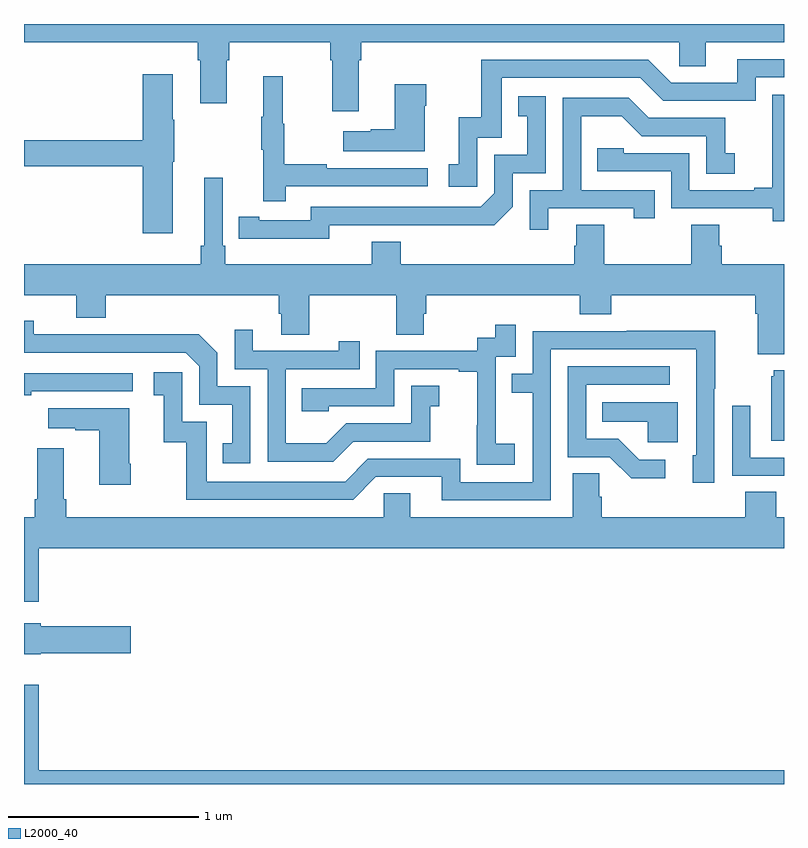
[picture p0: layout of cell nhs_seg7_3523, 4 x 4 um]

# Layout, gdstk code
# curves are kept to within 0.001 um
import gdstk
lib = gdstk.Library(unit=1e-6, precision=1e-09)
def P(c, l, *ps):  # polygons
    for p in ps: c.add(gdstk.Polygon(p, *l))
L2000_40 = (2000, 40)

nhs_seg7_3523 = lib.new_cell('nhs_seg7_3523')
P(nhs_seg7_3523, L2000_40, [(336.763,1045.808),(336.776,1045.808),(336.776,1045.904),(338.448,1045.904),(338.448,1045.777),(338.587,1045.777),(338.587,1045.904),(339,1045.904),(339,1046),(335,1046),(335,1045.904),(335.915,1045.904),(335.915,1045.808),(335.927,1045.808),(335.927,1045.584),(336.067,1045.584),(336.067,1045.808),(336.08,1045.808),(336.08,1045.904),(336.611,1045.904),(336.611,1045.808),(336.623,1045.808),(336.623,1045.542),(336.763,1045.542)],
  [(337.386,1045.401),(337.515,1045.401),(337.515,1045.716),(338.244,1045.716),(338.364,1045.596),(338.85,1045.596),(338.85,1045.719),(339,1045.719),(339,1045.815),(338.753,1045.815),(338.753,1045.692),(338.406,1045.692),(338.286,1045.812),(337.407,1045.812),(337.407,1045.51),(337.289,1045.51),(337.289,1045.263),(337.236,1045.263),(337.236,1045.143),(337.386,1045.143)],
  [(335.782,1045.275),(335.79,1045.275),(335.79,1045.496),(335.782,1045.496),(335.782,1045.735),(335.624,1045.735),(335.624,1045.388),(335,1045.388),(335,1045.252),(335.624,1045.252),(335.624,1044.9),(335.782,1044.9)],
  [(336.377,1045.146),(337.126,1045.146),(337.126,1045.242),(336.593,1045.242),(336.593,1045.262),(336.37,1045.262),(336.37,1045.476),(336.362,1045.476),(336.362,1045.726),(336.26,1045.726),(336.26,1045.513),(336.249,1045.513),(336.249,1045.339),(336.26,1045.339),(336.26,1045.068),(336.377,1045.068)],
  [(337.108,1045.571),(337.116,1045.571),(337.116,1045.684),(336.95,1045.684),(336.95,1045.445),(336.824,1045.445),(336.824,1045.435),(336.681,1045.435),(336.681,1045.331),(337.108,1045.331)],
  [(339,1045.627),(338.938,1045.627),(338.938,1045.421),(338.939,1045.421),(338.939,1045.138),(338.843,1045.138),(338.843,1045.125),(338.502,1045.125),(338.502,1045.32),(338.157,1045.32),(338.157,1045.347),(338.017,1045.347),(338.017,1045.224),(338.406,1045.224),(338.406,1045.029),(338.94,1045.029),(338.94,1044.961),(339,1044.961)],
  [(336.606,1044.942),(337.474,1044.941),(337.572,1045.038),(337.572,1045.215),(337.746,1045.215),(337.746,1045.621),(337.6,1045.621),(337.6,1045.515),(337.649,1045.515),(337.649,1045.311),(337.476,1045.311),(337.476,1045.11),(337.404,1045.038),(336.51,1045.038),(336.51,1044.966),(336.238,1044.966),(336.238,1044.986),(336.13,1044.986),(336.13,1044.87),(336.606,1044.869)],
  [(337.759,1045.029),(338.21,1045.029),(338.21,1044.978),(338.321,1044.978),(338.321,1045.125),(337.932,1045.125),(337.932,1045.514),(338.146,1045.514),(338.25,1045.41),(338.592,1045.41),(338.592,1045.212),(338.74,1045.212),(338.74,1045.321),(338.691,1045.321),(338.691,1045.506),(338.287,1045.506),(338.182,1045.611),(337.836,1045.611),(337.836,1045.125),(337.662,1045.125),(337.662,1044.918),(337.759,1044.918)],
  [(339,1044.736),(338.672,1044.736),(338.672,1044.834),(338.659,1044.834),(338.659,1044.944),(338.512,1044.944),(338.512,1044.736),(338.055,1044.736),(338.055,1044.944),(337.907,1044.944),(337.907,1044.834),(337.895,1044.834),(337.895,1044.736),(336.983,1044.736),(336.983,1044.853),(336.83,1044.853),(336.83,1044.736),(336.059,1044.736),(336.059,1044.832),(336.045,1044.832),(336.045,1045.192),(335.948,1045.192),(335.948,1044.832),(335.929,1044.832),(335.929,1044.736),(335,1044.736),(335,1044.572),(335.276,1044.572),(335.276,1044.455),(335.429,1044.455),(335.429,1044.572),(336.341,1044.572),(336.341,1044.474),(336.353,1044.474),(336.353,1044.364),(336.501,1044.364),(336.501,1044.572),(336.958,1044.572),(336.958,1044.364),(337.105,1044.364),(337.105,1044.474),(337.118,1044.474),(337.118,1044.572),(337.925,1044.572),(337.925,1044.473),(338.09,1044.473),(338.09,1044.572),(338.849,1044.572),(338.849,1044.476),(338.861,1044.476),(338.861,1044.263),(339,1044.263)],
  [(336.192,1044.093),(336.018,1044.093),(336.018,1044.27),(335.92,1044.368),(335.512,1044.368),(335.512,1044.366),(335.052,1044.366),(335.052,1044.439),(335,1044.439),(335,1044.27),(335.85,1044.27),(335.922,1044.198),(335.922,1043.997),(336.095,1043.997),(336.095,1043.793),(336.046,1043.793),(336.046,1043.688),(336.192,1043.688)],
  [(337.582,1043.791),(337.484,1043.791),(337.484,1044.02),(337.482,1044.02),(337.482,1044.249),(337.587,1044.249),(337.587,1044.418),(337.479,1044.418),(337.479,1044.348),(337.386,1044.348),(337.386,1044.279),(336.852,1044.279),(336.852,1044.084),(336.463,1044.084),(336.463,1043.961),(336.603,1043.961),(336.603,1043.988),(336.948,1043.988),(336.948,1044.183),(337.289,1044.183),(337.289,1044.171),(337.385,1044.171),(337.385,1043.887),(337.384,1043.887),(337.384,1043.681),(337.582,1043.681)],
  [(336.733,1043.802),(337.137,1043.802),(337.137,1043.987),(337.186,1043.987),(337.186,1044.097),(337.038,1044.097),(337.038,1043.898),(336.696,1043.898),(336.592,1043.794),(336.378,1043.794),(336.378,1044.183),(336.767,1044.183),(336.767,1044.331),(336.656,1044.331),(336.656,1044.279),(336.205,1044.279),(336.205,1044.391),(336.108,1044.391),(336.108,1044.183),(336.282,1044.183),(336.282,1043.697),(336.628,1043.697)],
  [(337.773,1044.288),(338.537,1044.288),(338.538,1043.73),(338.519,1043.73),(338.519,1043.586),(338.634,1043.586),(338.634,1044.079),(338.637,1044.079),(338.637,1044.386),(338.173,1044.386),(338.173,1044.384),(337.677,1044.384),(337.677,1044.159),(337.567,1044.159),(337.567,1044.058),(337.677,1044.058),(337.677,1043.589),(337.296,1043.589),(337.296,1043.712),(336.81,1043.712),(336.69,1043.592),(335.961,1043.592),(335.961,1043.907),(335.832,1043.907),(335.832,1044.166),(335.682,1044.166),(335.682,1044.045),(335.735,1044.045),(335.735,1043.799),(335.853,1043.799),(335.853,1043.496),(336.732,1043.496),(336.852,1043.616),(337.199,1043.616),(337.199,1043.493),(337.773,1043.493)],
  [(338.374,1043.706),(338.239,1043.706),(338.128,1043.817),(337.959,1043.817),(337.959,1044.102),(338.398,1044.102),(338.398,1044.198),(337.863,1044.198),(337.863,1043.721),(338.082,1043.721),(338.195,1043.609),(338.374,1043.609)],
  [(339,1044.178),(338.945,1044.178),(338.945,1044.147),(338.933,1044.147),(338.933,1043.807),(339,1043.807)],
  [(335.039,1044.066),(335.572,1044.066),(335.572,1044.162),(335,1044.162),(335,1044.046),(335.039,1044.046)],
  [(338.44,1044.01),(338.044,1044.01),(338.044,1043.906),(338.283,1043.906),(338.283,1043.798),(338.44,1043.798)],
  [(339,1043.718),(338.823,1043.718),(338.823,1043.992),(338.727,1043.992),(338.727,1043.622),(339,1043.622)],
  [(335.562,1043.686),(335.554,1043.686),(335.554,1043.977),(335.127,1043.977),(335.127,1043.873),(335.27,1043.873),(335.27,1043.863),(335.396,1043.863),(335.396,1043.574),(335.562,1043.574)],
  [(335.077,1043.24),(339,1043.24),(339,1043.404),(338.96,1043.404),(338.96,1043.537),(338.795,1043.537),(338.795,1043.404),(338.042,1043.404),(338.042,1043.513),(338.028,1043.513),(338.028,1043.636),(337.889,1043.636),(337.889,1043.404),(337.033,1043.404),(337.033,1043.531),(336.894,1043.531),(336.894,1043.404),(335.222,1043.404),(335.222,1043.5),(335.209,1043.5),(335.209,1043.767),(335.069,1043.767),(335.069,1043.5),(335.057,1043.5),(335.057,1043.404),(335,1043.404),(335,1042.959),(335.077,1042.959)],
  [(335.088,1042.688),(335.563,1042.688),(335.563,1042.83),(335.088,1042.83),(335.088,1042.846),(335,1042.846),(335,1042.682),(335.088,1042.682)],
  [(339,1042.072),(335.077,1042.072),(335.077,1042.522),(335,1042.522),(335,1042),(339,1042)])

lib.write_gds('nhs_seg7_3523.gds')
